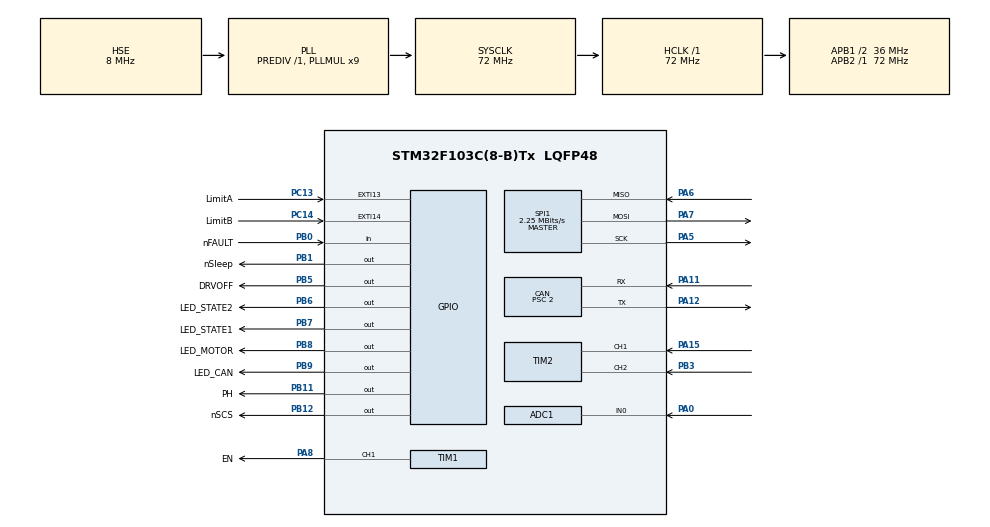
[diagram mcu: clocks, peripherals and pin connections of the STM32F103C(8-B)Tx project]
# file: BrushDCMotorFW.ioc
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ADC1.Channel-0\#ChannelRegularConversion=ADC_CHANNEL_0
ADC1.ContinuousConvMode=ENABLE
ADC1.NbrOfConversionFlag=1
ADC1.Rank-0\#ChannelRegularConversion=1
ADC1.SamplingTime-0\#ChannelRegularConversion=ADC_SAMPLETIME_1CYCLE_5
ADC1.master=1
CAN.BS1=CAN_BS1_14TQ
CAN.BS2=CAN_BS2_3TQ
CAN.CalculateBaudRate=1000000
CAN.CalculateTimeBit=1000
CAN.CalculateTimeQuantum=55.55555555555556
CAN.Prescaler=2
Dma.ADC1.0.Direction=DMA_PERIPH_TO_MEMORY
Dma.ADC1.0.Instance=DMA1_Channel1
Dma.ADC1.0.MemDataAlignment=DMA_MDATAALIGN_HALFWORD
Dma.ADC1.0.MemInc=DMA_MINC_ENABLE
Dma.ADC1.0.Mode=DMA_CIRCULAR
Dma.ADC1.0.PeriphDataAlignment=DMA_PDATAALIGN_HALFWORD
Dma.ADC1.0.PeriphInc=DMA_PINC_DISABLE
Dma.ADC1.0.Priority=DMA_PRIORITY_LOW
Dma.Request0=ADC1
Mcu.Family=STM32F1
Mcu.Name=STM32F103C(8-B)Tx
Mcu.Package=LQFP48
NVIC.DMA1_Channel1_IRQn=true\:0\:0\:false\:false\:true\:false\:true\:true
NVIC.EXTI15_10_IRQn=true\:1\:0\:true\:false\:true\:true\:true\:true
NVIC.PriorityGroup=NVIC_PRIORITYGROUP_4
NVIC.TIM2_IRQn=true\:4\:0\:true\:false\:true\:true\:true\:true
NVIC.TIM3_IRQn=true\:2\:0\:true\:false\:true\:true\:true\:true
NVIC.USB_LP_CAN1_RX0_IRQn=true\:3\:0\:true\:false\:true\:true\:true\:true
PA0-WKUP.Signal=ADCx_IN0
PA11.Mode=CAN_Activate
PA11.Signal=CAN_RX
PA12.Mode=CAN_Activate
PA12.Signal=CAN_TX
PA13.Mode=Serial_Wire
PA13.Signal=SYS_JTMS-SWDIO
PA14.Mode=Serial_Wire
PA14.Signal=SYS_JTCK-SWCLK
PA15.Signal=S_TIM2_CH1_ETR
PA5.Mode=Full_Duplex_Master
PA5.Signal=SPI1_SCK
PA6.Mode=Full_Duplex_Master
PA6.Signal=SPI1_MISO
PA7.Mode=Full_Duplex_Master
PA7.Signal=SPI1_MOSI
PA8.GPIO_Label=EN
PA8.Signal=S_TIM1_CH1
PB0.GPIO_Label=nFAULT
PB0.Signal=GPIO_Input
PB1.GPIO_Label=nSleep
PB1.Signal=GPIO_Output
PB11.GPIO_Label=PH
PB11.Signal=GPIO_Output
PB12.GPIO_Label=nSCS
PB12.GPIO_PuPd=GPIO_NOPULL
PB12.Signal=GPIO_Output
PB3.Signal=S_TIM2_CH2
PB5.GPIO_Label=DRVOFF
PB5.Signal=GPIO_Output
PB6.GPIO_Label=LED_STATE2
PB6.Signal=GPIO_Output
PB7.GPIO_Label=LED_STATE1
PB7.Signal=GPIO_Output
PB8.GPIO_Label=LED_MOTOR
PB8.Signal=GPIO_Output
PB9.GPIO_Label=LED_CAN
PB9.Signal=GPIO_Output
PC13-TAMPER-RTC.GPIO_Label=LimitA
PC13-TAMPER-RTC.GPIO_ModeDefaultEXTI=GPIO_MODE_IT_FALLING
PC13-TAMPER-RTC.GPIO_PuPd=GPIO_PULLUP
PC13-TAMPER-RTC.Signal=GPXTI13
PC14-OSC32_IN.GPIO_Label=LimitB
PC14-OSC32_IN.GPIO_ModeDefaultEXTI=GPIO_MODE_IT_FALLING
PC14-OSC32_IN.GPIO_PuPd=GPIO_PULLUP
PC14-OSC32_IN.Signal=GPXTI14
PD0-OSC_IN.Mode=HSE-External-Oscillator
PD0-OSC_IN.Signal=RCC_OSC_IN
PD1-OSC_OUT.Mode=HSE-External-Oscillator
PD1-OSC_OUT.Signal=RCC_OSC_OUT
ProjectManager.HeapSize=0x200
ProjectManager.StackSize=0x400
ProjectManager.TargetToolchain=STM32CubeIDE
RCC.ADCPresc=RCC_ADCPCLK2_DIV6
RCC.AHBFreq_Value=72000000
RCC.APB1CLKDivider=RCC_HCLK_DIV2
RCC.APB1Freq_Value=36000000
RCC.APB1TimFreq_Value=72000000
RCC.APB2Freq_Value=72000000
RCC.APB2TimFreq_Value=72000000
RCC.HCLKFreq_Value=72000000
RCC.PLLMUL=RCC_PLL_MUL9
RCC.PLLSourceVirtual=RCC_PLLSOURCE_HSE
RCC.SYSCLKFreq_VALUE=72000000
RCC.SYSCLKSource=RCC_SYSCLKSOURCE_PLLCLK
RCC.USBFreq_Value=72000000
SH.ADCx_IN0.0=ADC1_IN0,IN0
SH.S_TIM1_CH1.0=TIM1_CH1,PWM Generation1 CH1
SH.S_TIM2_CH1_ETR.0=TIM2_CH1,Encoder_Interface
SH.S_TIM2_CH2.0=TIM2_CH2,Encoder_Interface
SPI1.BaudRatePrescaler=SPI_BAUDRATEPRESCALER_32
SPI1.CLKPhase=SPI_PHASE_2EDGE
SPI1.CalculateBaudRate=2.25 MBits/s
SPI1.DataSize=SPI_DATASIZE_16BIT
SPI1.Direction=SPI_DIRECTION_2LINES
SPI1.Mode=SPI_MODE_MASTER
SPI1.VirtualType=VM_MASTER
TIM1.Channel-PWM\ Generation1\ CH1=TIM_CHANNEL_1
TIM1.Period=65535
TIM1.Prescaler=1
TIM2.EncoderMode=TIM_ENCODERMODE_TI12
TIM2.TIM_MasterOutputTrigger=TIM_TRGO_RESET
TIM3.Channel-Output\ Compare1\ CH1=TIM_CHANNEL_1
TIM3.Channel-Output\ Compare1\ No\ Output=TIM_CHANNEL_1
TIM3.Period=70-1
TIM3.Prescaler=1000-1
VP_TIM1_VS_ClockSourceINT.Mode=Internal
VP_TIM3_VS_ClockSourceINT.Mode=Internal
VP_TIM3_VS_no_output1.Mode=Output Compare1 No Output
VP_TIM4_VS_ClockSourceINT.Mode=Internal
board=custom

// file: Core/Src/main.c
/* USER CODE BEGIN Header */
/**
  ******************************************************************************
  * @file           : main.c
  * @brief          : Main program body
  ******************************************************************************
  * @attention
  *
  * Copyright (c) 2023 STMicroelectronics.
  * All rights reserved.
  *
  * This software is licensed under terms that can be found in the LICENSE file
  * in the root directory of this software component.
  * If no LICENSE file comes with this software, it is provided AS-IS.
  *
  ******************************************************************************
  */
/* USER CODE END Header */
#include "main.h"
#include "adc.h"
#include "can.h"
#include "dma.h"
#include "spi.h"
#include "tim.h"
#include "gpio.h"

/* USER CODE BEGIN Includes */
#include "led.h"
#include "config.h"
#include "motor_control.h"
/* USER CODE END Includes */

void SystemClock_Config(void);

int main(void)
{

  /* MCU Configuration--------------------------------------------------------*/

  /* Reset of all peripherals, Initializes the Flash interface and the Systick. */
  HAL_Init();

  /* Configure the system clock */
  SystemClock_Config();

  /* Initialize all configured peripherals */
  MX_GPIO_Init();
  MX_DMA_Init();
  MX_CAN_Init();
  MX_SPI1_Init();
  MX_TIM1_Init();
  MX_ADC1_Init();
  MX_TIM2_Init();
  MX_TIM3_Init();
  MX_TIM4_Init();
  /* USER CODE BEGIN 2 */
  led_on(state1);
  led_on(state2);
  led_on(can);
  led_process();
  Activate();
  /* USER CODE END 2 */

  /* Infinite loop */
  /* USER CODE BEGIN WHILE */

  int lasttime_send_stop = 0;
  while (1)
  {
	  if(HAL_GPIO_ReadPin(nFAULT_GPIO_Port, nFAULT_Pin)==GPIO_PIN_RESET){
		  led_on(can);
		  ClearFault();
		  ChangeMode(Stop);
	  }

	  if(GetMode() == Interlock_Waiting && (HAL_GetTick() - lasttime_send_stop>50)){
		  CAN_Send_Partial_Stop();
		  lasttime_send_stop = HAL_GetTick();
	  }

    /* USER CODE END WHILE */

    /* USER CODE BEGIN 3 */
	  led_process();
  }
  /* USER CODE END 3 */
}

void SystemClock_Config(void)
{
  RCC_OscInitTypeDef RCC_OscInitStruct = {0};
  RCC_ClkInitTypeDef RCC_ClkInitStruct = {0};
  RCC_PeriphCLKInitTypeDef PeriphClkInit = {0};

  /** Initializes the RCC Oscillators according to the specified parameters
  * in the RCC_OscInitTypeDef structure.
  */
  RCC_OscInitStruct.OscillatorType = RCC_OSCILLATORTYPE_HSE;
  RCC_OscInitStruct.HSEState = RCC_HSE_ON;
  RCC_OscInitStruct.HSEPredivValue = RCC_HSE_PREDIV_DIV1;
  RCC_OscInitStruct.HSIState = RCC_HSI_ON;
  RCC_OscInitStruct.PLL.PLLState = RCC_PLL_ON;
  RCC_OscInitStruct.PLL.PLLSource = RCC_PLLSOURCE_HSE;
  RCC_OscInitStruct.PLL.PLLMUL = RCC_PLL_MUL9;
  if (HAL_RCC_OscConfig(&RCC_OscInitStruct) != HAL_OK)
  {
    Error_Handler();
  }

  /** Initializes the CPU, AHB and APB buses clocks
  */
  RCC_ClkInitStruct.ClockType = RCC_CLOCKTYPE_HCLK|RCC_CLOCKTYPE_SYSCLK
                              |RCC_CLOCKTYPE_PCLK1|RCC_CLOCKTYPE_PCLK2;
  RCC_ClkInitStruct.SYSCLKSource = RCC_SYSCLKSOURCE_PLLCLK;
  RCC_ClkInitStruct.AHBCLKDivider = RCC_SYSCLK_DIV1;
  RCC_ClkInitStruct.APB1CLKDivider = RCC_HCLK_DIV2;
  RCC_ClkInitStruct.APB2CLKDivider = RCC_HCLK_DIV1;

  if (HAL_RCC_ClockConfig(&RCC_ClkInitStruct, FLASH_LATENCY_2) != HAL_OK)
  {
    Error_Handler();
  }
  PeriphClkInit.PeriphClockSelection = RCC_PERIPHCLK_ADC;
  PeriphClkInit.AdcClockSelection = RCC_ADCPCLK2_DIV6;
  if (HAL_RCCEx_PeriphCLKConfig(&PeriphClkInit) != HAL_OK)
  {
    Error_Handler();
  }
}

void Error_Handler(void)
{
  __disable_irq();
  while (1)
  {
  }
}
